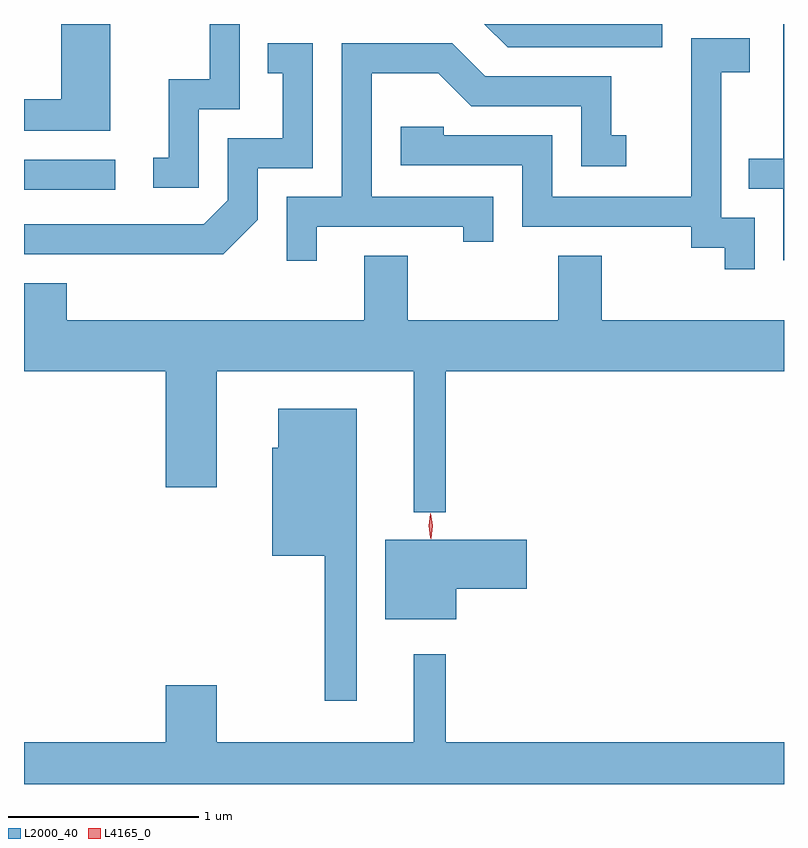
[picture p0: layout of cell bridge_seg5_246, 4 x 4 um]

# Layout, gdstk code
import gdstk
lib = gdstk.Library(unit=1e-6, precision=1e-09)
def R(c, l, rs):  # rectangles x0, y0, x1, y1
    for r in rs: c.add(gdstk.rectangle(r[:2], r[2:], *l))
def P(c, l, *ps):  # polygons
    for p in ps: c.add(gdstk.Polygon(p, *l))
L2000_40 = (2000, 40)
L4165_0 = (4165, 0)

bridge_seg5_246 = lib.new_cell('bridge_seg5_246')
R(bridge_seg5_246, L2000_40, [(973.569,1488.831,974.048,1488.989)])
P(bridge_seg5_246, L2000_40, [(974.024,1489.704),(973.766,1489.704),(973.766,1489.309),(973.569,1489.309),(973.569,1489.141),(974.024,1489.141)],
  [(974.489,1489.256),(974.704,1489.256),(974.704,1489.704),(974.546,1489.704),(974.546,1489.414),(974.331,1489.414),(974.331,1488.999),(974.248,1488.999),(974.248,1488.841),(974.489,1488.841)],
  [(976.929,1489.704),(975.991,1489.704),(976.114,1489.581),(976.929,1489.581)],
  [(977.569,1489.704),(977.566,1489.704),(977.566,1488.994),(977.383,1488.994),(977.383,1488.836),(977.566,1488.836),(977.566,1488.461),(977.569,1488.461)],
  [(977.414,1488.684),(977.239,1488.684),(977.239,1489.451),(977.389,1489.451),(977.389,1489.629),(977.081,1489.629),(977.081,1488.794),(976.349,1488.794),(976.349,1489.119),(975.779,1489.119),(975.779,1489.164),(975.551,1489.164),(975.551,1488.961),(976.191,1488.961),(976.191,1488.636),(977.081,1488.636),(977.081,1488.526),(977.256,1488.526),(977.256,1488.413),(977.414,1488.413)],
  [(974.799,1488.674),(974.799,1488.946),(975.089,1488.946),(975.089,1489.604),(974.853,1489.604),(974.853,1489.446),(974.931,1489.446),(974.931,1489.104),(974.641,1489.104),(974.641,1488.777),(974.514,1488.649),(973.569,1488.649),(973.569,1488.491),(974.617,1488.491)],
  [(975.109,1488.636),(975.881,1488.636),(975.881,1488.558),(976.039,1488.558),(976.039,1488.794),(975.399,1488.794),(975.399,1489.446),(975.749,1489.446),(975.924,1489.271),(976.501,1489.271),(976.501,1488.956),(976.738,1488.956),(976.738,1489.119),(976.659,1489.119),(976.659,1489.429),(975.997,1489.429),(975.822,1489.604),(975.241,1489.604),(975.241,1488.794),(974.951,1488.794),(974.951,1488.458),(975.109,1488.458)],
  [(975.789,1487.876),(977.569,1487.876),(977.569,1488.144),(976.609,1488.144),(976.609,1488.484),(976.381,1488.484),(976.381,1488.144),(975.589,1488.144),(975.589,1488.484),(975.361,1488.484),(975.361,1488.144),(973.794,1488.144),(973.794,1488.339),(973.569,1488.339),(973.569,1487.876),(974.316,1487.876),(974.316,1487.266),(974.584,1487.266),(974.584,1487.876),(975.621,1487.876),(975.621,1487.133),(975.789,1487.133)],
  [(975.319,1487.679),(974.906,1487.679),(974.906,1487.474),(974.876,1487.474),(974.876,1486.906),(975.151,1486.906),(975.151,1486.143),(975.319,1486.143)],
  [(975.844,1486.731),(976.214,1486.731),(976.214,1486.989),(975.471,1486.989),(975.471,1486.571),(975.844,1486.571)],
  [(977.569,1485.924),(975.789,1485.924),(975.789,1486.388),(975.621,1486.388),(975.621,1485.924),(974.584,1485.924),(974.584,1486.224),(974.316,1486.224),(974.316,1485.924),(973.569,1485.924),(973.569,1485.704),(977.569,1485.704)])
P(bridge_seg5_246, L4165_0, [(975.711,1486.994),(975.701,1487.062),(975.71,1487.13),(975.71,1487.13),(975.711,1487.13),(975.721,1487.062),(975.712,1486.994),(975.712,1486.994)],
  [(975.707,1487),(975.698,1487.063),(975.707,1487.126),(975.708,1487.127),(975.708,1487.126),(975.718,1487.063),(975.708,1487),(975.708,1487)])

lib.write_gds('bridge_seg5_246.gds')
